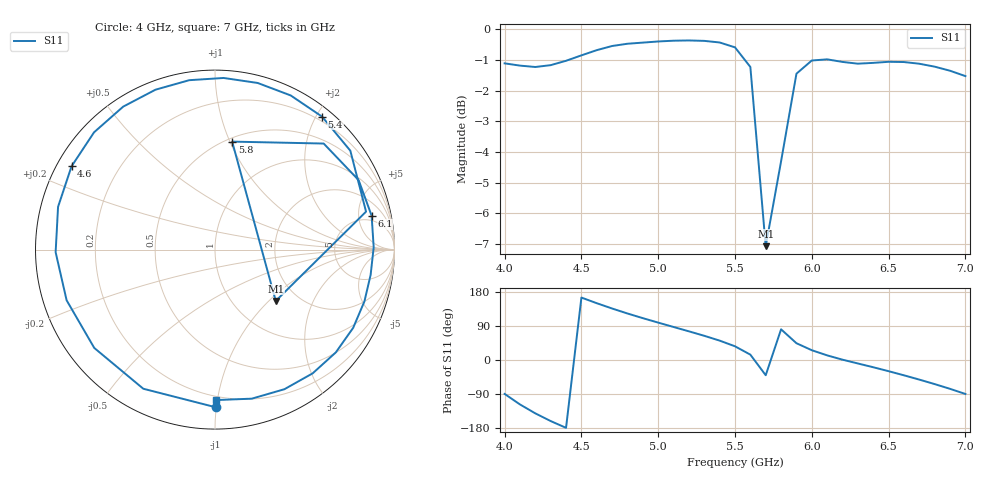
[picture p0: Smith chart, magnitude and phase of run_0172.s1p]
! Touchstone file exported from HFSS 2024.2.0
!  File:  C:/Users/wsak9/Desktop/Sim Fast/Widenad Patch/WP_AI_V1_sweep.aedt
!  Generated:  10:06:51 PM Oct 13, 2026
!  Design:  A1_model
!  Project:  WP_AI_V1_sweep
!  Setup:  Setup1
!  Solution:  Sweep
! Variables:
!  Air_gap = 2.51mm
!  Curve_Amp1 = 1.45
!  Curve_len1 = 1
!  Curve_pos = 10.45mm
!  Extra = 6.65mm
!  H_sub = 0.79mm
!  L_Patch = 16.9mm
!  L_Patch1 = 23.01mm
!  Sx = 3.33mm
!  Sy = 2.85mm
!  WS = 0.31mm
!  W_Patch = 15.76mm
!  W_Patch1 = 16.36mm
!Data is not renormalized
# GHz S MA
! Terminal data exported
! Port[1] = 1
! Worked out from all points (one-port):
!   31 points, 4 GHz to 7 GHz, reference per port
!   lowest |S11| = -7.1 dB at 5.7 GHz (marker M1), VSWR 2.59
!   |S11| at or under -10 dB: nowhere
!   S11 on the Smith chart (normalised r, x): 4 GHz: 0.13, -1.00; 4.6 GHz: 0.04, +0.27; 5.4 GHz: 0.13, +2.08; 5.8 GHz: 0.53, +1.02; 6.1 GHz: 3.92, +7.28; 7 GHz: 0.18, -0.99
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4  0.8795 -89.5
4.1  0.8721 -117.3
4.2  0.8676 -140.8
4.3  0.8736 -161.1
4.4  0.888 -179.1
4.5  0.9063 164.8
4.6  0.9241 149.9
4.7  0.9387 135.9
4.8  0.9466 122.7
4.9  0.9506 110.4
5  0.9547 98.7
5.1  0.9575 87.1
5.2  0.9584 75.6
5.3  0.9569 63.8
5.4  0.9511 51.2
5.5  0.9339 36.2
5.6  0.8677 14.1
5.7  0.4431 -40.2
5.8  0.6092 81.0
5.9  0.846 44.3
6  0.889 25.8
6.1  0.8928 12.2
6.3  0.8785 -9.2
6.5  0.8846 -29.5
6.7  0.8783 -51.7
6.8  0.8687 -63.6
6.9  0.8555 -76.1
7  0.8385 -89.6
